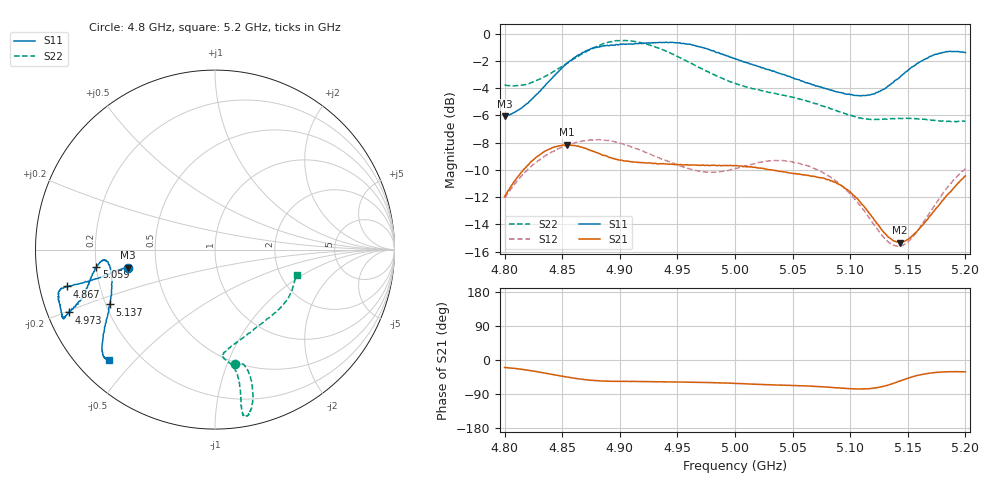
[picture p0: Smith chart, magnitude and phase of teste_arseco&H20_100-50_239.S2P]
! Network Analyzer HP8722D
! Hewlett-Packard
! Data name: Linha & Wilkinson
! Saver's name: Rodrigo Anjos
! Comments: Teste da utilização de aquisição
! continua pelo VNA HP8722D
! Time and date: 6/5/2025 14:33
!  Frequency  S11  S21  S12  S22
# HZ  S  MA R 50
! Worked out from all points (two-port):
!   401 points, 4.8 GHz to 5.2 GHz, reference 50 ohm
!   highest |S21| = -8.16 dB at 4.854 GHz (marker M1); lowest = -15.3 dB at 5.143 GHz (marker M2)
!   |S21| within 3 dB of the highest: 4.806 GHz to 5.092 GHz (286.2 MHz wide, 5.78 % of centre); 5.191769 GHz to end of sweep
!   lowest |S11| = -6.1 dB at 4.8 GHz (marker M3), VSWR 2.97, Z = 17 - j4.56 ohm
!   |S11| at or under -10 dB: nowhere
!   |S22| runs from -6.5 to -0.5 dB; largest |S21 - S12| = 0.62
!   S11 on the Smith chart (normalised r, x): 4.8 GHz: 0.34, -0.09; 4.867 GHz: 0.08, -0.12; 4.973 GHz: 0.06, -0.20; 5.059 GHz: 0.20, -0.07; 5.137 GHz: 0.22, -0.23; 5.2 GHz: 0.09, -0.42
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4.8e9  0.4968 -168.2  0.2524 -19.7  0.2491 -141.0  0.6483 -80.3
4.827e9  0.5938 -167.2  0.3507 -30.1  0.3358 -144.6  0.6713 -75.5
4.854e9  0.7771 -166.0  0.391 -45.2  0.3888 -149.9  0.7786 -74.7
4.867e9  0.8484 -166.0  0.383 -50.8  0.4029 -152.1  0.8429 -75.5
4.879e9  0.8902 -165.6  0.367 -54.3  0.4075 -154.1  0.8939 -76.7
4.899e9  0.9101 -163.0  0.3444 -56.7  0.3977 -156.8  0.9428 -79.1
4.916e9  0.9198 -159.3  0.337 -56.8  0.3765 -157.1  0.9313 -80.3
4.934e9  0.9293 -156.5  0.3324 -57.4  0.3507 -155.7  0.8831 -80.5
4.951e9  0.9233 -155.5  0.3302 -58.2  0.3285 -152.7  0.8224 -79.9
4.973e9  0.8874 -156.8  0.3287 -59.4  0.3106 -145.9  0.7363 -79.6
5e9  0.8089 -159.1  0.3275 -61.8  0.3197 -137.3  0.6575 -81.2
5.036e9  0.7216 -165.8  0.3144 -66.1  0.3419 -134.4  0.6017 -85.6
5.059e9  0.6684 -171.6  0.3035 -68.2  0.331 -136.2  0.5716 -84.3
5.067e9  0.6501 -173.1  0.3 -69.3  0.3229 -136.8  0.5589 -82.8
5.084e9  0.621 -174.8  0.2884 -72.5  0.2946 -138.4  0.5288 -76.2
5.104e9  0.593 -171.0  0.2531 -76.1  0.2471 -138.5  0.4963 -64.6
5.134e9  0.6469 -154.3  0.1782 -65.1  0.1704 -120.7  0.4867 -43.3
5.137e9  0.6598 -152.4  0.1742 -62.3  0.1678 -116.7  0.4885 -41.5
5.143e9  0.6923 -149.2  0.171 -55.6  0.166 -108.9  0.4884 -38.1
5.154e9  0.7566 -144.5  0.1814 -44.3  0.1794 -95.1  0.4884 -32.3
5.173e9  0.837 -138.9  0.2238 -33.3  0.2329 -80.8  0.4804 -24.3
5.2e9  0.8523 -133.7  0.3005 -31.3  0.3194 -77.0  0.4773 -17.5
